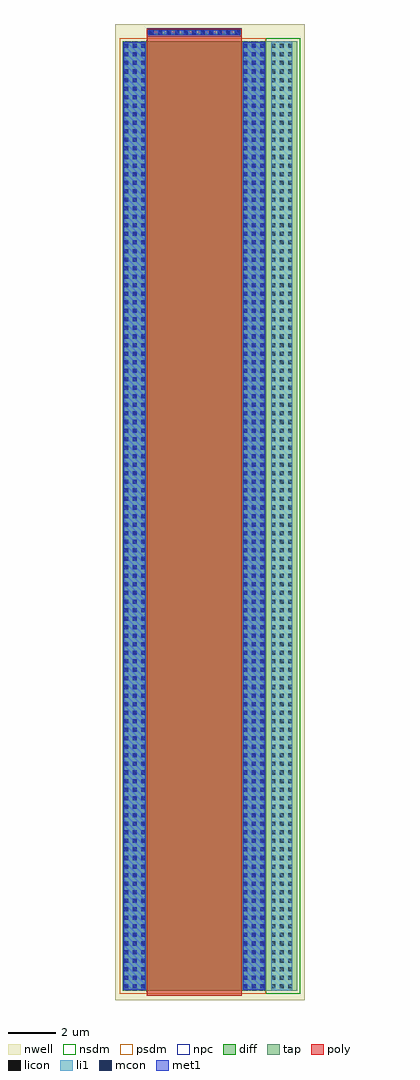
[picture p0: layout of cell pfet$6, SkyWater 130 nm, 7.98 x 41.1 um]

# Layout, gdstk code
import gdstk
lib = gdstk.Library(unit=1e-6, precision=1e-09)
def R(c, l, rs):  # rectangles x0, y0, x1, y1
    for r in rs: c.add(gdstk.rectangle(r[:2], r[2:], *l))
def A(c, l, x, y, w, h, nx, ny, dx, dy):  # array of equal rectangles
    R(c, l, [(x+i*dx, y+j*dy, x+i*dx+w, y+j*dy+h) for i in range(nx) for j in range(ny)])
nwell = (64, 20)
diff = (65, 20)
tap = (65, 44)
poly = (66, 20)
licon = (66, 44)
li1 = (67, 20)
mcon = (67, 44)
met1 = (68, 20)
nsdm = (93, 44)
psdm = (94, 20)
npc = (95, 20)

pfet_6 = lib.new_cell('pfet$6')
R(pfet_6, nwell, [(-0.305,-0.38,7.671,40.72)])
R(pfet_6, diff, [(0,0,6.04,40)])
R(pfet_6, tap, [(6.04,0,7.366,40)])
R(pfet_6, poly, [(1.02,-0.2,5.02,40.2), (1.02,40.2,5.02,40.53)])
A(pfet_6, licon, 0.065, 0.115, 0.17, 0.17, 3, 111, 0.36, 0.36)
A(pfet_6, licon, 5.085, 0.115, 0.17, 0.17, 3, 111, 0.36, 0.36)
A(pfet_6, licon, 6.258, 0.115, 0.17, 0.17, 3, 111, 0.36, 0.36)
A(pfet_6, licon, 1.135, 40.28, 0.17, 0.17, 11, 1, 0.36, 0)
R(pfet_6, li1, [(0.065,0.035,0.955,39.965), (5.085,0.035,5.975,39.965), (6.258,0.035,7.148,39.965), (1.055,40.28,4.985,40.45)])
A(pfet_6, mcon, 0.065, 0.115, 0.17, 0.17, 3, 111, 0.36, 0.36)
A(pfet_6, mcon, 5.085, 0.115, 0.17, 0.17, 3, 111, 0.36, 0.36)
A(pfet_6, mcon, 1.135, 40.28, 0.17, 0.17, 11, 1, 0.36, 0)
R(pfet_6, met1, [(0.035,0.055,0.985,39.945), (5.055,0.055,6.005,39.945), (1.075,40.25,4.965,40.48)])
R(pfet_6, nsdm, [(6.04,-0.125,7.492,40.125)])
R(pfet_6, psdm, [(-0.125,-0.125,6.039,40.125)])
R(pfet_6, npc, [(1.01,40.19,5.03,40.54)])

lib.write_gds('pfet_6.gds')
